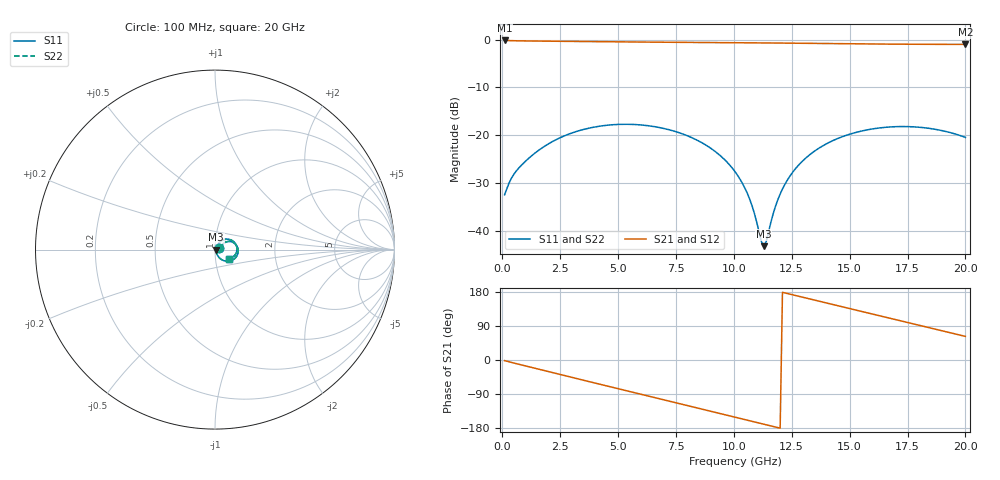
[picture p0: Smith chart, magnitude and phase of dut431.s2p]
! Touchstone file exported from HFSS 2026.1.0
!  File:  C:/ffzhzh/LocalFiles/Ansys_Project_Files/temp_train_TSV_RDL_431_1783097373_35180.aedt
!  Generated:  12:57:42 AM Jul  4, 2026
!  Design:  TSV_RDL
!  Project:  temp_train_TSV_RDL_431_1783097373_35180
! Variables:
!  h_bsmrdl = 4.32um
!  h_ox = 20um
!  h_rdl = 5um
!  h_sub = 64.76um
!  h_tmrdl = 3.12um
!  h_tsv = 64.76um
!  h_via = 3um
!  l_bsmrdl = 634.66um
!  l_sub = 5035.32um
!  l_tmrdl = 651.98um
!  m_sub = 200um
!  pitch = 28.44um
!  r_tsv = 11.45um
!  s_tmrdl = 10um
!  w_bsmrdl = 18.74um
!  w_sub = 500um
!  w_tmrdl = 22.4um
!  x_tsv_center1 = 663.18um
!  x_tsv_center2 = 1316.58um
!  x_tsv_center3 = 1990.96um
!  x_tsv_center4 = 2644.36um
!  x_tsv_center5 = 3318.74um
!  x_tsv_center6 = 3972.14um
# GHz S MA R 50.000000
! Terminal data exported
! Port[1] = TM_RDL1_1_T1
! Port[2] = TM_RDL5_1_T1
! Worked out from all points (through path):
!   200 points, 100 MHz to 20 GHz, reference 50 ohm
!   highest |S21| = -0.20 dB at 100 MHz (marker M1); lowest = -1.0 dB at 20 GHz (marker M2)
!   group delay of S21, straight-line fit = 41.3 ps
!   lowest |S11| = -43.3 dB at 11.3 GHz (marker M3), VSWR 1.01, Z = 50.7 - j0.00581 ohm
!   |S11| at or under -10 dB: start of sweep to end of sweep
!   |S22| runs from -43.1 to -17.7 dB; largest |S21 - S12| = 1.7e-14
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0.1  0.02373 15.0  0.9772 -1.7  0.9772 -1.7  0.02373 15.0
! Gamma 0 0 0 0
! Port Impedance 50 0 50 0
0.5  0.03886 32.2  0.9701 -8.0  0.9701 -8.0  0.03885 32.2
1.3  0.06163 36.2  0.9641 -20.1  0.9641 -20.1  0.06163 36.2
2.3  0.08887 30.8  0.9586 -35.3  0.9586 -35.3  0.08888 30.8
3.5  0.1143 17.9  0.9518 -53.3  0.9518 -53.3  0.1143 17.9
5.2  0.1296 -3.9  0.9435 -78.6  0.9435 -78.6  0.1296 -3.9
6.8  0.1197 -25.5  0.9377 -102.4  0.9377 -102.4  0.1198 -25.5
8.7  0.08103 -50.6  0.932 -130.7  0.932 -130.7  0.08116 -50.5
9.5  0.05834 -60.0  0.9293 -142.7  0.9293 -142.7  0.05849 -59.9
10.1  0.03982 -65.3  0.927 -151.6  0.927 -151.6  0.03998 -65.2
10.7  0.02084 -64.5  0.9244 -160.6  0.9244 -160.6  0.02103 -64.3
11.2  0.00754 -25.1  0.922 -168.0  0.922 -168.0  0.007735 -25.8
11.3  0.006872 -0.5  0.9215 -169.5  0.9215 -169.5  0.007012 -1.9
11.4  0.007716 23.5  0.921 -171.0  0.921 -171.0  0.007775 21.9
11.8  0.01802 58.4  0.9189 -177.0  0.9189 -177.0  0.01793 57.6
12.2  0.03033 62.0  0.9167 177.1  0.9167 177.1  0.03021 61.6
12.7  0.0456 59.5  0.9139 169.7  0.9139 169.7  0.04545 59.2
13.4  0.06564 52.4  0.9099 159.3  0.9099 159.3  0.06549 52.1
14.9  0.1002 33.8  0.9018 137.2  0.9018 137.2  0.1001 33.6
16.7  0.1214 10.3  0.8944 110.8  0.8944 110.8  0.1212 10.0
18.3  0.1187 -10.6  0.8905 87.3  0.8905 87.3  0.1186 -11.0
20  0.09448 -31.8  0.8881 62.3  0.8881 62.3  0.09435 -32.2
